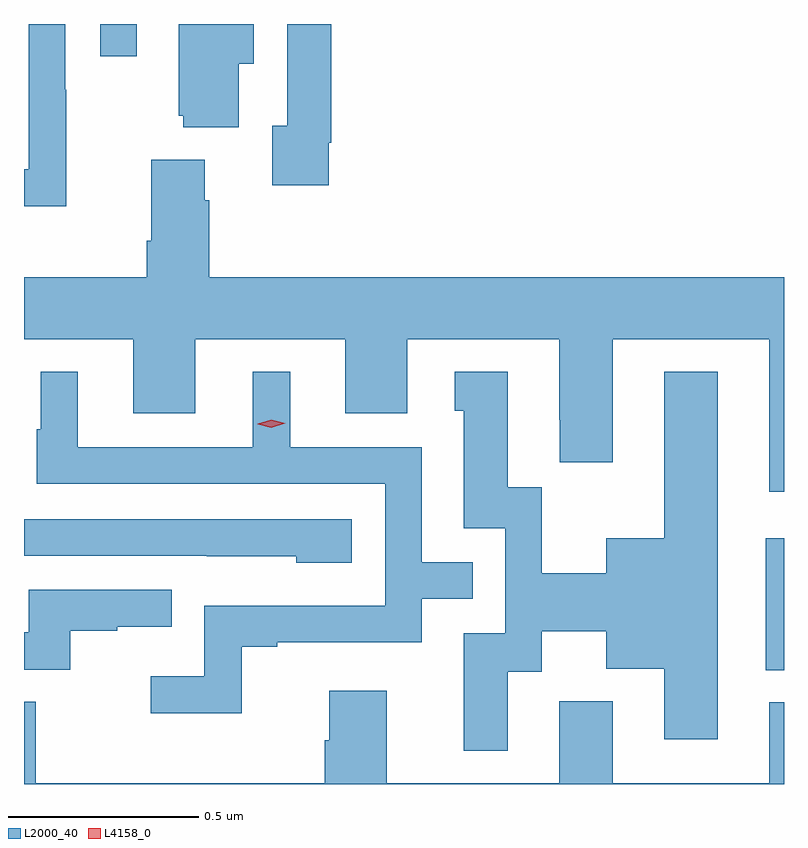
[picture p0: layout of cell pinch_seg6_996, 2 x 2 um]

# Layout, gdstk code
import gdstk
lib = gdstk.Library(unit=1e-6, precision=1e-09)
def R(c, l, rs):  # rectangles x0, y0, x1, y1
    for r in rs: c.add(gdstk.rectangle(r[:2], r[2:], *l))
def P(c, l, *ps):  # polygons
    for p in ps: c.add(gdstk.Polygon(p, *l))
L2000_40 = (2000, 40)
L4158_0 = (4158, 0)

pinch_seg6_996 = lib.new_cell('pinch_seg6_996')
R(pinch_seg6_996, L2000_40, [(282.092,945.134,282.14,945.481), (280.341,946.749,280.437,946.834)])
P(pinch_seg6_996, L2000_40, [(280.705,946.73),(280.744,946.73),(280.744,946.834),(280.547,946.834),(280.547,946.593),(280.559,946.593),(280.559,946.562),(280.705,946.562)],
  [(280.251,946.661),(280.248,946.661),(280.248,946.834),(280.152,946.834),(280.152,946.452),(280.14,946.452),(280.14,946.355),(280.251,946.355)],
  [(280.942,946.522),(280.949,946.522),(280.949,946.834),(280.833,946.834),(280.833,946.566),(280.793,946.566),(280.793,946.41),(280.942,946.41)],
  [(282.14,946.168),(280.628,946.168),(280.628,946.37),(280.615,946.37),(280.615,946.477),(280.475,946.477),(280.475,946.264),(280.463,946.264),(280.463,946.168),(280.14,946.168),(280.14,946.004),(280.427,946.004),(280.427,945.81),(280.591,945.81),(280.591,946.004),(280.985,946.004),(280.985,945.81),(281.149,945.81),(281.149,946.004),(281.549,946.004),(281.549,945.793),(281.55,945.793),(281.55,945.681),(281.689,945.681),(281.689,946.004),(282.101,946.004),(282.101,945.603),(282.14,945.603)],
  [(280.713,945.195),(280.807,945.195),(280.807,945.207),(281.187,945.207),(281.187,945.321),(281.321,945.321),(281.321,945.417),(281.187,945.417),(281.187,945.72),(280.84,945.72),(280.84,945.919),(280.742,945.919),(280.742,945.72),(280.282,945.72),(280.282,945.919),(280.184,945.919),(280.184,945.768),(280.173,945.768),(280.173,945.624),(281.091,945.624),(281.091,945.303),(280.614,945.303),(280.614,945.118),(280.473,945.118),(280.473,945.02),(280.713,945.02)],
  [(281.413,945.13),(281.503,945.13),(281.503,945.236),(281.672,945.236),(281.672,945.137),(281.825,945.137),(281.825,944.952),(281.965,944.952),(281.965,945.919),(281.825,945.919),(281.825,945.481),(281.672,945.481),(281.672,945.388),(281.502,945.388),(281.502,945.615),(281.413,945.615),(281.413,945.919),(281.273,945.919),(281.273,945.816),(281.297,945.816),(281.297,945.507),(281.406,945.507),(281.406,945.231),(281.297,945.231),(281.297,944.922),(281.413,944.922)],
  [(281.002,945.531),(280.14,945.531),(280.14,945.435),(280.621,945.435),(280.621,945.434),(280.857,945.434),(280.857,945.416),(281.002,945.416)],
  [(280.262,945.237),(280.385,945.237),(280.385,945.248),(280.529,945.248),(280.529,945.345),(280.152,945.345),(280.152,945.233),(280.14,945.233),(280.14,945.135),(280.262,945.135)],
  [(282.14,945.049),(282.101,945.049),(282.101,944.836),(281.689,944.836),(281.689,945.052),(281.549,945.052),(281.549,944.836),(281.095,944.836),(281.095,945.079),(280.943,945.079),(280.943,944.949),(280.931,944.949),(280.931,944.836),(280.171,944.836),(280.171,945.05),(280.14,945.05),(280.14,944.834),(282.14,944.834)])
P(pinch_seg6_996, L4158_0, [(280.791,945.772),(280.755,945.781),(280.755,945.781),(280.755,945.782),(280.791,945.792),(280.827,945.784),(280.827,945.784),(280.827,945.783)])

lib.write_gds('pinch_seg6_996.gds')
